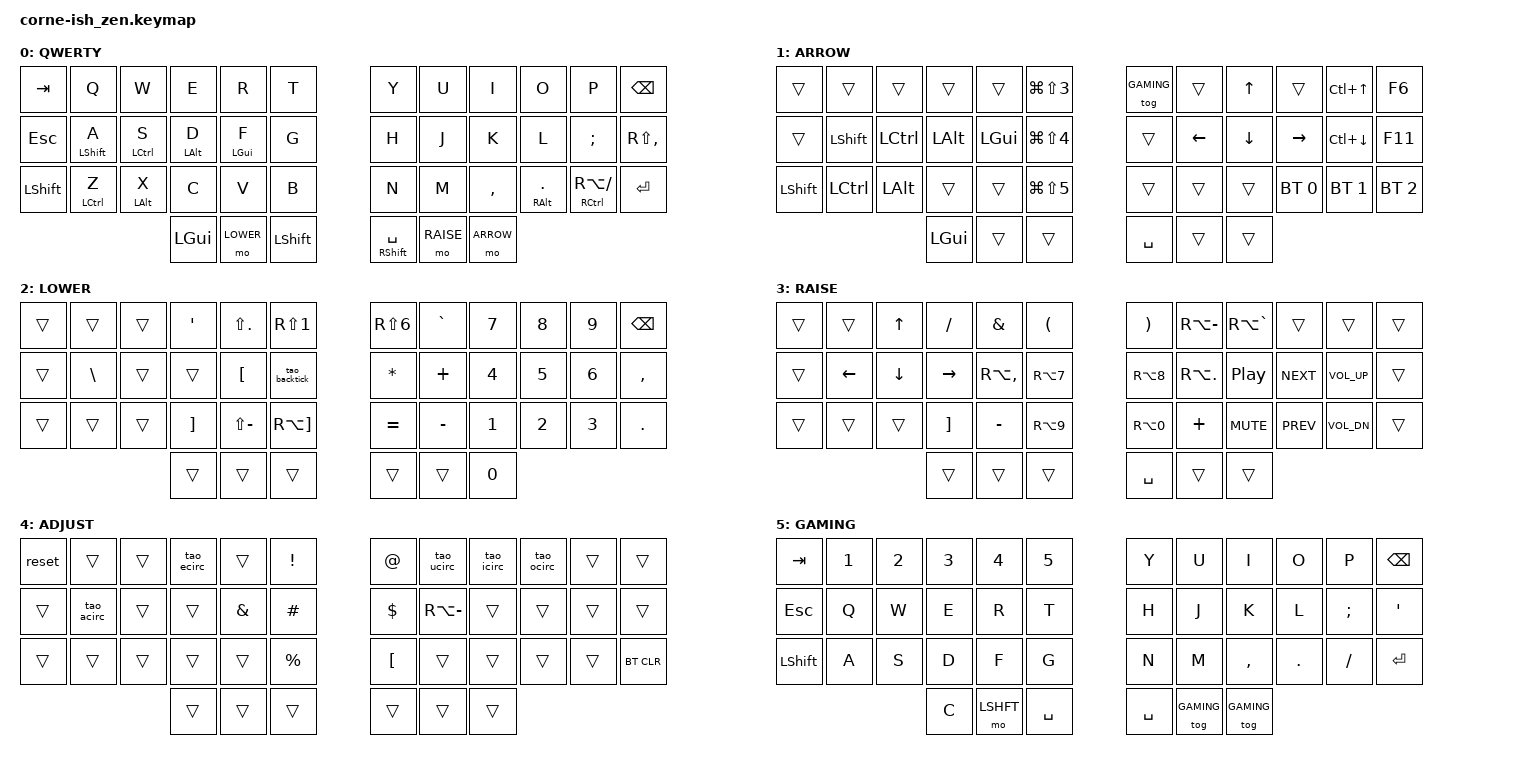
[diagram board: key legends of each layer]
#include <behaviors.dtsi>
#include <dt-bindings/zmk/keys.h>
#include <dt-bindings/zmk/bt.h>

// Trigger new build please

#define QWERTY 0
#define ARROW 1
#define LOWER 2
#define RAISE 3
#define ADJUST 4
#define GAMING 5

/ {
    conditional_layers {
        compatible = "zmk,conditional-layers";

        tri_layer {
            if-layers = <LOWER RAISE>;
            then-layer = <ADJUST>;
        };
    };

    behaviors {
        hm: homerow_mods {
            compatible = "zmk,behavior-hold-tap";
            label = "HOMEROW_MODS";
            #binding-cells = <2>;
            tapping-term-ms = <200>;
            quick_tap_ms = <0>;
            flavor = "tap-preferred";
            bindings = <&kp>, <&kp>;
        };
    };

    macros {
        tao_acirc: tao_acirc {
            label = "ZM_tao_acirc";
            compatible = "zmk,behavior-macro";
            #binding-cells = <0>;
            tap-ms = <15>;
            bindings
                = <&macro_tap &kp LBKT &kp A>
                ;
        };
        tao_ecirc: tao_ecirc {
            label = "ZM_tao_ecirc";
            compatible = "zmk,behavior-macro";
            #binding-cells = <0>;
            tap-ms = <15>;
            bindings
                = <&macro_tap &kp LBKT &kp E>
                ;
        };
        tao_icirc: tao_icirc {
            label = "ZM_tao_icirc";
            compatible = "zmk,behavior-macro";
            #binding-cells = <0>;
            tap-ms = <15>;
            bindings
                = <&macro_tap &kp LBKT &kp I>
                ;
        };
        tao_ocirc: tao_ocirc {
            label = "ZM_tao_ocirc";
            compatible = "zmk,behavior-macro";
            #binding-cells = <0>;
            tap-ms = <15>;
            bindings
                = <&macro_tap &kp LBKT &kp O>
                ;
        };
        tao_ucirc: tao_ucirc {
            label = "ZM_tao_ucirc";
            compatible = "zmk,behavior-macro";
            #binding-cells = <0>;
            tap-ms = <15>;
            bindings
                = <&macro_tap &kp LBKT &kp U>
                ;
        };
        tao_backtick: tao_backtick {
            label = "ZM_tao_backtick";
            compatible = "zmk,behavior-macro";
            #binding-cells = <0>;
            tap-ms = <15>;
            bindings
                = <&macro_tap &kp RA(LBKT) &kp SPACE>
                ;
        };
    };

    keymap {
        compatible = "zmk,keymap";

        default_layer {
            label = "QWERTY";
            bindings = <
   &kp TAB   &kp Q       &kp W       &kp E      &kp R      &kp T   &kp Y &kp U &kp I     &kp O        &kp P              &kp BSPC
   &kp ESC   &hm LSHFT A &hm LCTRL S &hm LALT D &hm LGUI F &kp G   &kp H &kp J &kp K     &kp L        &kp SEMI           &kp RS(COMMA)
   &kp LSHFT &hm LCTRL Z &hm LALT X  &kp C      &kp V      &kp B   &kp N &kp M &kp COMMA &hm RALT DOT &hm RCTRL RA(FSLH) &kp ENTER
                                    &kp LGUI &mo LOWER &kp LSHFT   &hm RSHFT SPACE &mo RAISE &mo ARROW
            >;
        };
        arrow_layer {
            label = "ARROW";
            bindings = <
   &trans    &trans    &trans    &trans   &trans   &kp LG(LS(N3))   &tog GAMING &trans   &kp UP   &trans       &kp LC(UP)   &kp F6
   &trans    &kp LSHFT &kp LCTRL &kp LALT &kp LGUI &kp LG(LS(N4))   &trans      &kp LEFT &kp DOWN &kp RIGHT    &kp LC(DOWN) &kp F11
   &kp LSHFT &kp LCTRL &kp LALT  &trans   &trans   &kp LG(LS(N5))   &trans      &trans   &trans   &bt BT_SEL 0 &bt BT_SEL 1 &bt BT_SEL 2
                                           &kp LGUI &trans &trans   &kp SPACE &trans &trans
            >;
        };
        lower_layer {
            label = "LOWER";
            bindings = <
   &trans &trans   &trans &kp SQT  &kp LS(DOT)   &kp RS(N1)      &kp RS(N6) &kp GRAVE &kp N7 &kp N8 &kp N9 &kp BSPC
   &trans &kp BSLH &trans &trans   &kp LBKT      &tao_backtick   &kp STAR   &kp PLUS  &kp N4 &kp N5 &kp N6 &kp COMMA
   &trans &trans   &trans &kp RBKT &kp LS(MINUS) &kp RA(RBKT)    &kp EQUAL  &kp MINUS &kp N1 &kp N2 &kp N3 &kp DOT
                                          &trans &trans &trans   &trans &trans &kp N0
            >;
        };
        raise_layer {
            label = "RAISE";
            bindings = <
   &trans &trans   &kp UP   &kp FSLH  &kp AMPS      &kp LPAR     &kp RPAR   &kp RA(MINUS) &kp RA(GRAVE) &trans     &trans       &trans
   &trans &kp LEFT &kp DOWN &kp RIGHT &kp RA(COMMA) &kp RA(N7)   &kp RA(N8) &kp RA(DOT)   &kp C_PP      &kp C_NEXT &kp C_VOL_UP &trans
   &trans &trans   &trans   &kp RBKT  &kp MINUS     &kp RA(N9)   &kp RA(N0) &kp PLUS      &kp K_MUTE    &kp C_PREV &kp C_VOL_DN &trans
                                          &trans &trans &trans   &kp SPACE &trans &trans
            >;
        };
        adjust_layer {
            label = "ADJUST";
            bindings = <
   &reset &trans     &trans &tao_ecirc &trans   &kp EXCL    &kp AT   &tao_ucirc    &tao_icirc &tao_ocirc &trans &trans
   &trans &tao_acirc &trans &trans     &kp AMPS &kp HASH    &kp DLLR &kp RA(MINUS) &trans     &trans     &trans &trans
   &trans &trans     &trans &trans     &trans   &kp PRCNT   &kp LBKT &trans        &trans     &trans     &trans &bt BT_CLR
                                 &trans &trans &trans   &trans &trans &trans
            >;
        };
        gaming_layer {
            label = "GAMING";
            bindings = <
   &kp TAB   &kp N1 &kp N2 &kp N3 &kp N4 &kp N5   &kp Y &kp U &kp I     &kp O   &kp P    &kp BSPC
   &kp ESC   &kp Q  &kp W  &kp E  &kp R  &kp T    &kp H &kp J &kp K     &kp L   &kp SEMI &kp APOS
   &kp LSHFT &kp A  &kp S  &kp D  &kp F  &kp G    &kp N &kp M &kp COMMA &kp DOT &kp FSLH &kp ENTER
                      &kp C &mo LSHFT &kp SPACE   &kp SPACE &tog GAMING &tog GAMING
            >;
        };
    };
};
